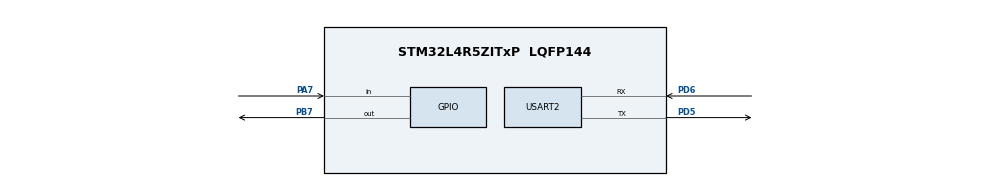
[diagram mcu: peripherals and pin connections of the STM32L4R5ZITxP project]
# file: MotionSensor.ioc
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Mcu.Family=STM32L4
Mcu.Name=STM32L4R5ZITxP
Mcu.Package=LQFP144
NVIC.PriorityGroup=NVIC_PRIORITYGROUP_4
PA0.Signal=S_TIM2_CH1
PA1.Signal=ADCx_IN6
PA10.Signal=USB_OTG_FS_ID
PA13\ (JTMS/SWDIO).Signal=SYS_JTMS-SWDIO
PA14\ (JTCK/SWCLK).Signal=SYS_JTCK-SWCLK
PA3.Signal=ADCx_IN8
PA4.Signal=SPI1_NSS
PA5.Signal=SPI1_SCK
PA6.Signal=SPI1_MISO
PA7.Signal=GPIO_Input
PA9.Signal=USB_OTG_FS_VBUS
PB0.Signal=S_TIM3_CH3
PB1.Signal=ADCx_IN16
PB10.Signal=S_TIM2_CH3
PB12.Signal=SAI2_FS_A
PB13.Signal=SAI2_SCK_A
PB14.Signal=S_TIM15_CH1
PB15.Signal=SAI2_SD_A
PB2.Signal=COMP1_INP
PB3\ (JTDO/TRACESWO).Signal=SPI3_SCK
PB4\ (NJTRST).Signal=SPI3_MISO
PB5.Signal=SPI3_MOSI
PB6.Signal=COMP2_INP
PB7.Signal=GPIO_Output
PB8.Signal=I2C1_SCL
PB9.Signal=I2C1_SDA
PC0.Signal=ADCx_IN1
PC1.Signal=ADCx_IN2
PC10.Signal=SDMMC1_D2
PC11.Signal=SDMMC1_D3
PC12.Signal=SDMMC1_CK
PC13.Signal=SYS_WKUP2
PC14-OSC32_IN\ (PC14).Signal=RCC_OSC32_IN
PC15-OSC32_OUT\ (PC15).Signal=RCC_OSC32_OUT
PC2.Signal=ADCx_IN3
PC3.Signal=ADCx_IN4
PC4.Signal=ADCx_IN13
PC5.Signal=ADCx_IN14
PC6.Signal=SAI2_MCLK_A
PC7.Signal=S_TIM3_CH2
PC8.Signal=SDMMC1_D0
PC9.Signal=SDMMC1_D1
PD0.Signal=CAN1_RX
PD14.Signal=S_TIM4_CH3
PD15.Signal=S_TIM4_CH4
PD2.Signal=SDMMC1_CMD
PD3.Signal=USART2_CTS
PD4.Signal=USART2_RTS
PD5.Mode=Asynchronous
PD5.Signal=USART2_TX
PD6.Mode=Asynchronous
PD6.Signal=USART2_RX
PD8.Signal=USART3_TX
PD9.Signal=USART3_RX
PE0.Signal=S_TIM4_ETR
PE10.Signal=TIM1_CH2N
PE11.Signal=S_TIM1_CH2
PE12.Signal=TIM1_CH3N
PE13.Signal=S_TIM1_CH3
PE14.Signal=TIM1_BKIN2
PE15.Signal=TIM1_BKIN
PE2.Signal=SAI1_MCLK_A
PE3.Signal=SAI1_SD_B
PE7.Signal=S_TIM1_ETR
PE8.Signal=TIM1_CH1N
PE9.Signal=S_TIM1_CH1
PF0.Signal=I2C2_SDA
PF1.Signal=I2C2_SCL
PF2.Signal=I2C2_SMBA
PF7.Signal=SAI1_MCLK_B
PG7.Signal=LPUART1_TX
PG8.Signal=LPUART1_RX
PH0-OSC_IN\ (PH0).Mode=HSE-External-Oscillator
PH0-OSC_IN\ (PH0).Signal=RCC_OSC_IN
PH1-OSC_OUT\ (PH1).Mode=HSE-External-Oscillator
PH1-OSC_OUT\ (PH1).Signal=RCC_OSC_OUT
ProjectManager.HeapSize=0x200
ProjectManager.StackSize=0x400
ProjectManager.TargetToolchain=STM32CubeIDE
RCC.HSE_VALUE=8000000
RCC.HSI48_VALUE=48000000
RCC.HSI_VALUE=16000000
RCC.LSE_VALUE=32768
RCC.MSI_VALUE=4000000
RCC.VCOOutputFreq_Value=32000000
SH.ADCx_IN1.0=ADC1_IN1
SH.ADCx_IN13.0=ADC1_IN13
SH.ADCx_IN14.0=ADC1_IN14
SH.ADCx_IN16.0=ADC1_IN16
SH.ADCx_IN2.0=ADC1_IN2
SH.ADCx_IN3.0=ADC1_IN3
SH.ADCx_IN4.0=ADC1_IN4
SH.ADCx_IN6.0=ADC1_IN6
SH.ADCx_IN8.0=ADC1_IN8
SH.S_TIM15_CH1.0=TIM15_CH1
SH.S_TIM1_CH1.0=TIM1_CH1
SH.S_TIM1_CH2.0=TIM1_CH2
SH.S_TIM1_CH3.0=TIM1_CH3
SH.S_TIM1_ETR.0=TIM1_ETR
SH.S_TIM2_CH1.0=TIM2_CH1
SH.S_TIM2_CH3.0=TIM2_CH3
SH.S_TIM3_CH2.0=TIM3_CH2
SH.S_TIM3_CH3.0=TIM3_CH3
SH.S_TIM4_CH3.0=TIM4_CH3
SH.S_TIM4_CH4.0=TIM4_CH4
SH.S_TIM4_ETR.0=TIM4_ETR
USART2.VirtualMode-Asynchronous=VM_ASYNC
board=NUCLEO-L4R5ZI-P

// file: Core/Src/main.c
/* USER CODE BEGIN Header */
/**
  ******************************************************************************
  * @file           : main.c
  * @brief          : Main program body
  ******************************************************************************
  * @attention
  *
  * Copyright (c) 2022 STMicroelectronics.
  * All rights reserved.
  *
  * This software is licensed under terms that can be found in the LICENSE file
  * in the root directory of this software component.
  * If no LICENSE file comes with this software, it is provided AS-IS.
  *
  ******************************************************************************
  */
/* USER CODE END Header */
#include "main.h"

UART_HandleTypeDef huart2;

void SystemClock_Config(void);
static void MX_GPIO_Init(void);
static void MX_USART2_UART_Init(void);

/* USER CODE BEGIN 0 */

void pin_set_input(GPIO_TypeDef* GPIOx, uint16_t GPIO_Pin) {
  GPIO_InitTypeDef GPIO_InitStruct = {0};
  GPIO_InitStruct.Pin = GPIO_Pin;
  GPIO_InitStruct.Mode = GPIO_MODE_INPUT;
  GPIO_InitStruct.Pull = GPIO_NOPULL;
  GPIO_InitStruct.Speed = GPIO_SPEED_FREQ_LOW;
  HAL_GPIO_Init(GPIOx, &GPIO_InitStruct);
}

/* USER CODE END 0 */

int main(void)
{

  /* MCU Configuration--------------------------------------------------------*/

  /* Reset of all peripherals, Initializes the Flash interface and the Systick. */
  HAL_Init();

  /* Configure the system clock */
  SystemClock_Config();

  /* Initialize all configured peripherals */
  MX_GPIO_Init();
  MX_USART2_UART_Init();
  /* USER CODE BEGIN 2 */
  //pin_set_input(GPIOA, 7);

  /* USER CODE END 2 */

  /* Infinite loop */
  /* USER CODE BEGIN WHILE */

  // keep track of previous signal, if the previous signal is 0 and the current value is 1, send out a signal
  int previous_signal = 0;

  while (1)
  {
    /* USER CODE END WHILE */

    /* USER CODE BEGIN 3 */
	  int output = HAL_GPIO_ReadPin(GPIOA, GPIO_PIN_7);

	  if(output == 1 && previous_signal == 0) {
		  HAL_GPIO_WritePin(GPIOB, GPIO_PIN_7, GPIO_PIN_SET);
		  //send UART signal
		  // pd5
		  // change this for each motion sensor to match the different locations within the "house"
		  uint8_t buf[1] = "3";
		  HAL_UART_Transmit(&huart2, buf, 1, HAL_MAX_DELAY);

		  // short delay so the sensor does not fire repeatedly for the same movement
		  HAL_Delay(100);
	  } else {
		  HAL_GPIO_WritePin(GPIOB, GPIO_PIN_7, GPIO_PIN_RESET);
	  }
	  previous_signal = output;
  }
  /* USER CODE END 3 */
}

void SystemClock_Config(void)
{
  RCC_OscInitTypeDef RCC_OscInitStruct = {0};
  RCC_ClkInitTypeDef RCC_ClkInitStruct = {0};

  /** Configure the main internal regulator output voltage
  */
  if (HAL_PWREx_ControlVoltageScaling(PWR_REGULATOR_VOLTAGE_SCALE1) != HAL_OK)
  {
    Error_Handler();
  }
  /** Initializes the RCC Oscillators according to the specified parameters
  * in the RCC_OscInitTypeDef structure.
  */
  RCC_OscInitStruct.OscillatorType = RCC_OSCILLATORTYPE_MSI;
  RCC_OscInitStruct.MSIState = RCC_MSI_ON;
  RCC_OscInitStruct.MSICalibrationValue = 0;
  RCC_OscInitStruct.MSIClockRange = RCC_MSIRANGE_6;
  RCC_OscInitStruct.PLL.PLLState = RCC_PLL_NONE;
  if (HAL_RCC_OscConfig(&RCC_OscInitStruct) != HAL_OK)
  {
    Error_Handler();
  }
  /** Initializes the CPU, AHB and APB buses clocks
  */
  RCC_ClkInitStruct.ClockType = RCC_CLOCKTYPE_HCLK|RCC_CLOCKTYPE_SYSCLK
                              |RCC_CLOCKTYPE_PCLK1|RCC_CLOCKTYPE_PCLK2;
  RCC_ClkInitStruct.SYSCLKSource = RCC_SYSCLKSOURCE_MSI;
  RCC_ClkInitStruct.AHBCLKDivider = RCC_SYSCLK_DIV1;
  RCC_ClkInitStruct.APB1CLKDivider = RCC_HCLK_DIV1;
  RCC_ClkInitStruct.APB2CLKDivider = RCC_HCLK_DIV1;

  if (HAL_RCC_ClockConfig(&RCC_ClkInitStruct, FLASH_LATENCY_0) != HAL_OK)
  {
    Error_Handler();
  }
}

static void MX_USART2_UART_Init(void)
{

  huart2.Instance = USART2;
  huart2.Init.BaudRate = 115200;
  huart2.Init.WordLength = UART_WORDLENGTH_8B;
  huart2.Init.StopBits = UART_STOPBITS_1;
  huart2.Init.Parity = UART_PARITY_NONE;
  huart2.Init.Mode = UART_MODE_TX_RX;
  huart2.Init.HwFlowCtl = UART_HWCONTROL_NONE;
  huart2.Init.OverSampling = UART_OVERSAMPLING_16;
  huart2.Init.OneBitSampling = UART_ONE_BIT_SAMPLE_DISABLE;
  huart2.Init.ClockPrescaler = UART_PRESCALER_DIV1;
  huart2.AdvancedInit.AdvFeatureInit = UART_ADVFEATURE_NO_INIT;
  if (HAL_UART_Init(&huart2) != HAL_OK)
  {
    Error_Handler();
  }
  if (HAL_UARTEx_SetTxFifoThreshold(&huart2, UART_TXFIFO_THRESHOLD_1_8) != HAL_OK)
  {
    Error_Handler();
  }
  if (HAL_UARTEx_SetRxFifoThreshold(&huart2, UART_RXFIFO_THRESHOLD_1_8) != HAL_OK)
  {
    Error_Handler();
  }
  if (HAL_UARTEx_DisableFifoMode(&huart2) != HAL_OK)
  {
    Error_Handler();
  }

}

static void MX_GPIO_Init(void)
{
  GPIO_InitTypeDef GPIO_InitStruct = {0};

  /* GPIO Ports Clock Enable */
  __HAL_RCC_GPIOE_CLK_ENABLE();
  __HAL_RCC_GPIOC_CLK_ENABLE();
  __HAL_RCC_GPIOF_CLK_ENABLE();
  __HAL_RCC_GPIOH_CLK_ENABLE();
  __HAL_RCC_GPIOA_CLK_ENABLE();
  __HAL_RCC_GPIOB_CLK_ENABLE();
  __HAL_RCC_GPIOD_CLK_ENABLE();
  __HAL_RCC_GPIOG_CLK_ENABLE();
  HAL_PWREx_EnableVddIO2();

  /*Configure GPIO pin Output Level */
  HAL_GPIO_WritePin(GPIOB, GPIO_PIN_7, GPIO_PIN_RESET);

  /*Configure GPIO pins : PE2 PE3 */
  GPIO_InitStruct.Pin = GPIO_PIN_2|GPIO_PIN_3;
  GPIO_InitStruct.Mode = GPIO_MODE_AF_PP;
  GPIO_InitStruct.Pull = GPIO_NOPULL;
  GPIO_InitStruct.Speed = GPIO_SPEED_FREQ_LOW;
  GPIO_InitStruct.Alternate = GPIO_AF13_SAI1;
  HAL_GPIO_Init(GPIOE, &GPIO_InitStruct);

  /*Configure GPIO pins : PF0 PF1 PF2 */
  GPIO_InitStruct.Pin = GPIO_PIN_0|GPIO_PIN_1|GPIO_PIN_2;
  GPIO_InitStruct.Mode = GPIO_MODE_AF_OD;
  GPIO_InitStruct.Pull = GPIO_NOPULL;
  GPIO_InitStruct.Speed = GPIO_SPEED_FREQ_VERY_HIGH;
  GPIO_InitStruct.Alternate = GPIO_AF4_I2C2;
  HAL_GPIO_Init(GPIOF, &GPIO_InitStruct);

  /*Configure GPIO pin : PF7 */
  GPIO_InitStruct.Pin = GPIO_PIN_7;
  GPIO_InitStruct.Mode = GPIO_MODE_AF_PP;
  GPIO_InitStruct.Pull = GPIO_NOPULL;
  GPIO_InitStruct.Speed = GPIO_SPEED_FREQ_LOW;
  GPIO_InitStruct.Alternate = GPIO_AF13_SAI1;
  HAL_GPIO_Init(GPIOF, &GPIO_InitStruct);

  /*Configure GPIO pins : PC0 PC1 PC2 PC3
                           PC4 PC5 */
  GPIO_InitStruct.Pin = GPIO_PIN_0|GPIO_PIN_1|GPIO_PIN_2|GPIO_PIN_3
                          |GPIO_PIN_4|GPIO_PIN_5;
  GPIO_InitStruct.Mode = GPIO_MODE_ANALOG_ADC_CONTROL;
  GPIO_InitStruct.Pull = GPIO_NOPULL;
  HAL_GPIO_Init(GPIOC, &GPIO_InitStruct);

  /*Configure GPIO pin : PA0 */
  GPIO_InitStruct.Pin = GPIO_PIN_0;
  GPIO_InitStruct.Mode = GPIO_MODE_AF_PP;
  GPIO_InitStruct.Pull = GPIO_NOPULL;
  GPIO_InitStruct.Speed = GPIO_SPEED_FREQ_LOW;
  GPIO_InitStruct.Alternate = GPIO_AF1_TIM2;
  HAL_GPIO_Init(GPIOA, &GPIO_InitStruct);

  /*Configure GPIO pins : PA1 PA3 */
  GPIO_InitStruct.Pin = GPIO_PIN_1|GPIO_PIN_3;
  GPIO_InitStruct.Mode = GPIO_MODE_ANALOG_ADC_CONTROL;
  GPIO_InitStruct.Pull = GPIO_NOPULL;
  HAL_GPIO_Init(GPIOA, &GPIO_InitStruct);

  /*Configure GPIO pins : PA4 PA5 PA6 */
  GPIO_InitStruct.Pin = GPIO_PIN_4|GPIO_PIN_5|GPIO_PIN_6;
  GPIO_InitStruct.Mode = GPIO_MODE_AF_PP;
  GPIO_InitStruct.Pull = GPIO_NOPULL;
  GPIO_InitStruct.Speed = GPIO_SPEED_FREQ_VERY_HIGH;
  GPIO_InitStruct.Alternate = GPIO_AF5_SPI1;
  HAL_GPIO_Init(GPIOA, &GPIO_InitStruct);

  /*Configure GPIO pin : PA7 */
  GPIO_InitStruct.Pin = GPIO_PIN_7;
  GPIO_InitStruct.Mode = GPIO_MODE_INPUT;
  GPIO_InitStruct.Pull = GPIO_NOPULL;
  HAL_GPIO_Init(GPIOA, &GPIO_InitStruct);

  /*Configure GPIO pin : PB0 */
  GPIO_InitStruct.Pin = GPIO_PIN_0;
  GPIO_InitStruct.Mode = GPIO_MODE_AF_PP;
  GPIO_InitStruct.Pull = GPIO_NOPULL;
  GPIO_InitStruct.Speed = GPIO_SPEED_FREQ_LOW;
  GPIO_InitStruct.Alternate = GPIO_AF2_TIM3;
  HAL_GPIO_Init(GPIOB, &GPIO_InitStruct);

  /*Configure GPIO pin : PB1 */
  GPIO_InitStruct.Pin = GPIO_PIN_1;
  GPIO_InitStruct.Mode = GPIO_MODE_ANALOG_ADC_CONTROL;
  GPIO_InitStruct.Pull = GPIO_NOPULL;
  HAL_GPIO_Init(GPIOB, &GPIO_InitStruct);

  /*Configure GPIO pins : PB2 PB6 */
  GPIO_InitStruct.Pin = GPIO_PIN_2|GPIO_PIN_6;
  GPIO_InitStruct.Mode = GPIO_MODE_ANALOG;
  GPIO_InitStruct.Pull = GPIO_NOPULL;
  HAL_GPIO_Init(GPIOB, &GPIO_InitStruct);

  /*Configure GPIO pins : PE7 PE8 PE9 PE10
                           PE11 PE12 PE13 */
  GPIO_InitStruct.Pin = GPIO_PIN_7|GPIO_PIN_8|GPIO_PIN_9|GPIO_PIN_10
                          |GPIO_PIN_11|GPIO_PIN_12|GPIO_PIN_13;
  GPIO_InitStruct.Mode = GPIO_MODE_AF_PP;
  GPIO_InitStruct.Pull = GPIO_NOPULL;
  GPIO_InitStruct.Speed = GPIO_SPEED_FREQ_LOW;
  GPIO_InitStruct.Alternate = GPIO_AF1_TIM1;
  HAL_GPIO_Init(GPIOE, &GPIO_InitStruct);

  /*Configure GPIO pins : PE14 PE15 */
  GPIO_InitStruct.Pin = GPIO_PIN_14|GPIO_PIN_15;
  GPIO_InitStruct.Mode = GPIO_MODE_AF_PP;
  GPIO_InitStruct.Pull = GPIO_NOPULL;
  GPIO_InitStruct.Speed = GPIO_SPEED_FREQ_LOW;
  GPIO_InitStruct.Alternate = GPIO_AF3_TIM1_COMP1;
  HAL_GPIO_Init(GPIOE, &GPIO_InitStruct);

  /*Configure GPIO pin : PB10 */
  GPIO_InitStruct.Pin = GPIO_PIN_10;
  GPIO_InitStruct.Mode = GPIO_MODE_AF_PP;
  GPIO_InitStruct.Pull = GPIO_NOPULL;
  GPIO_InitStruct.Speed = GPIO_SPEED_FREQ_LOW;
  GPIO_InitStruct.Alternate = GPIO_AF1_TIM2;
  HAL_GPIO_Init(GPIOB, &GPIO_InitStruct);

  /*Configure GPIO pins : PB12 PB13 PB15 */
  GPIO_InitStruct.Pin = GPIO_PIN_12|GPIO_PIN_13|GPIO_PIN_15;
  GPIO_InitStruct.Mode = GPIO_MODE_AF_PP;
  GPIO_InitStruct.Pull = GPIO_NOPULL;
  GPIO_InitStruct.Speed = GPIO_SPEED_FREQ_LOW;
  GPIO_InitStruct.Alternate = GPIO_AF13_SAI2;
  HAL_GPIO_Init(GPIOB, &GPIO_InitStruct);

  /*Configure GPIO pin : PB14 */
  GPIO_InitStruct.Pin = GPIO_PIN_14;
  GPIO_InitStruct.Mode = GPIO_MODE_AF_PP;
  GPIO_InitStruct.Pull = GPIO_NOPULL;
  GPIO_InitStruct.Speed = GPIO_SPEED_FREQ_LOW;
  GPIO_InitStruct.Alternate = GPIO_AF14_TIM15;
  HAL_GPIO_Init(GPIOB, &GPIO_InitStruct);

  /*Configure GPIO pins : PD8 PD9 */
  GPIO_InitStruct.Pin = GPIO_PIN_8|GPIO_PIN_9;
  GPIO_InitStruct.Mode = GPIO_MODE_AF_PP;
  GPIO_InitStruct.Pull = GPIO_NOPULL;
  GPIO_InitStruct.Speed = GPIO_SPEED_FREQ_VERY_HIGH;
  GPIO_InitStruct.Alternate = GPIO_AF7_USART3;
  HAL_GPIO_Init(GPIOD, &GPIO_InitStruct);

  /*Configure GPIO pins : PD14 PD15 */
  GPIO_InitStruct.Pin = GPIO_PIN_14|GPIO_PIN_15;
  GPIO_InitStruct.Mode = GPIO_MODE_AF_PP;
  GPIO_InitStruct.Pull = GPIO_NOPULL;
  GPIO_InitStruct.Speed = GPIO_SPEED_FREQ_LOW;
  GPIO_InitStruct.Alternate = GPIO_AF2_TIM4;
  HAL_GPIO_Init(GPIOD, &GPIO_InitStruct);

  /*Configure GPIO pins : PG7 PG8 */
  GPIO_InitStruct.Pin = GPIO_PIN_7|GPIO_PIN_8;
  GPIO_InitStruct.Mode = GPIO_MODE_AF_PP;
  GPIO_InitStruct.Pull = GPIO_NOPULL;
  GPIO_InitStruct.Speed = GPIO_SPEED_FREQ_VERY_HIGH;
  GPIO_InitStruct.Alternate = GPIO_AF8_LPUART1;
  HAL_GPIO_Init(GPIOG, &GPIO_InitStruct);

  /*Configure GPIO pin : PC6 */
  GPIO_InitStruct.Pin = GPIO_PIN_6;
  GPIO_InitStruct.Mode = GPIO_MODE_AF_PP;
  GPIO_InitStruct.Pull = GPIO_NOPULL;
  GPIO_InitStruct.Speed = GPIO_SPEED_FREQ_LOW;
  GPIO_InitStruct.Alternate = GPIO_AF13_SAI2;
  HAL_GPIO_Init(GPIOC, &GPIO_InitStruct);

  /*Configure GPIO pin : PC7 */
  GPIO_InitStruct.Pin = GPIO_PIN_7;
  GPIO_InitStruct.Mode = GPIO_MODE_AF_PP;
  GPIO_InitStruct.Pull = GPIO_NOPULL;
  GPIO_InitStruct.Speed = GPIO_SPEED_FREQ_LOW;
  GPIO_InitStruct.Alternate = GPIO_AF2_TIM3;
  HAL_GPIO_Init(GPIOC, &GPIO_InitStruct);

  /*Configure GPIO pins : PC8 PC9 PC10 PC11
                           PC12 */
  GPIO_InitStruct.Pin = GPIO_PIN_8|GPIO_PIN_9|GPIO_PIN_10|GPIO_PIN_11
                          |GPIO_PIN_12;
  GPIO_InitStruct.Mode = GPIO_MODE_AF_PP;
  GPIO_InitStruct.Pull = GPIO_NOPULL;
  GPIO_InitStruct.Speed = GPIO_SPEED_FREQ_VERY_HIGH;
  GPIO_InitStruct.Alternate = GPIO_AF12_SDMMC1;
  HAL_GPIO_Init(GPIOC, &GPIO_InitStruct);

  /*Configure GPIO pin : PA9 */
  GPIO_InitStruct.Pin = GPIO_PIN_9;
  GPIO_InitStruct.Mode = GPIO_MODE_INPUT;
  GPIO_InitStruct.Pull = GPIO_NOPULL;
  HAL_GPIO_Init(GPIOA, &GPIO_InitStruct);

  /*Configure GPIO pin : PA10 */
  GPIO_InitStruct.Pin = GPIO_PIN_10;
  GPIO_InitStruct.Mode = GPIO_MODE_AF_PP;
  GPIO_InitStruct.Pull = GPIO_NOPULL;
  GPIO_InitStruct.Speed = GPIO_SPEED_FREQ_VERY_HIGH;
  GPIO_InitStruct.Alternate = GPIO_AF10_OTG_FS;
  HAL_GPIO_Init(GPIOA, &GPIO_InitStruct);

  /*Configure GPIO pin : PD0 */
  GPIO_InitStruct.Pin = GPIO_PIN_0;
  GPIO_InitStruct.Mode = GPIO_MODE_AF_PP;
  GPIO_InitStruct.Pull = GPIO_NOPULL;
  GPIO_InitStruct.Speed = GPIO_SPEED_FREQ_VERY_HIGH;
  GPIO_InitStruct.Alternate = GPIO_AF9_CAN1;
  HAL_GPIO_Init(GPIOD, &GPIO_InitStruct);

  /*Configure GPIO pin : PD2 */
  GPIO_InitStruct.Pin = GPIO_PIN_2;
  GPIO_InitStruct.Mode = GPIO_MODE_AF_PP;
  GPIO_InitStruct.Pull = GPIO_NOPULL;
  GPIO_InitStruct.Speed = GPIO_SPEED_FREQ_VERY_HIGH;
  GPIO_InitStruct.Alternate = GPIO_AF12_SDMMC1;
  HAL_GPIO_Init(GPIOD, &GPIO_InitStruct);

  /*Configure GPIO pins : PB3 PB4 PB5 */
  GPIO_InitStruct.Pin = GPIO_PIN_3|GPIO_PIN_4|GPIO_PIN_5;
  GPIO_InitStruct.Mode = GPIO_MODE_AF_PP;
  GPIO_InitStruct.Pull = GPIO_NOPULL;
  GPIO_InitStruct.Speed = GPIO_SPEED_FREQ_VERY_HIGH;
  GPIO_InitStruct.Alternate = GPIO_AF6_SPI3;
  HAL_GPIO_Init(GPIOB, &GPIO_InitStruct);

  /*Configure GPIO pin : PB7 */
  GPIO_InitStruct.Pin = GPIO_PIN_7;
  GPIO_InitStruct.Mode = GPIO_MODE_OUTPUT_PP;
  GPIO_InitStruct.Pull = GPIO_NOPULL;
  GPIO_InitStruct.Speed = GPIO_SPEED_FREQ_LOW;
  HAL_GPIO_Init(GPIOB, &GPIO_InitStruct);

  /*Configure GPIO pins : PB8 PB9 */
  GPIO_InitStruct.Pin = GPIO_PIN_8|GPIO_PIN_9;
  GPIO_InitStruct.Mode = GPIO_MODE_AF_OD;
  GPIO_InitStruct.Pull = GPIO_NOPULL;
  GPIO_InitStruct.Speed = GPIO_SPEED_FREQ_VERY_HIGH;
  GPIO_InitStruct.Alternate = GPIO_AF4_I2C1;
  HAL_GPIO_Init(GPIOB, &GPIO_InitStruct);

  /*Configure GPIO pin : PE0 */
  GPIO_InitStruct.Pin = GPIO_PIN_0;
  GPIO_InitStruct.Mode = GPIO_MODE_AF_PP;
  GPIO_InitStruct.Pull = GPIO_NOPULL;
  GPIO_InitStruct.Speed = GPIO_SPEED_FREQ_LOW;
  GPIO_InitStruct.Alternate = GPIO_AF2_TIM4;
  HAL_GPIO_Init(GPIOE, &GPIO_InitStruct);

}

void Error_Handler(void)
{
  __disable_irq();
  while (1)
  {
  }
}
